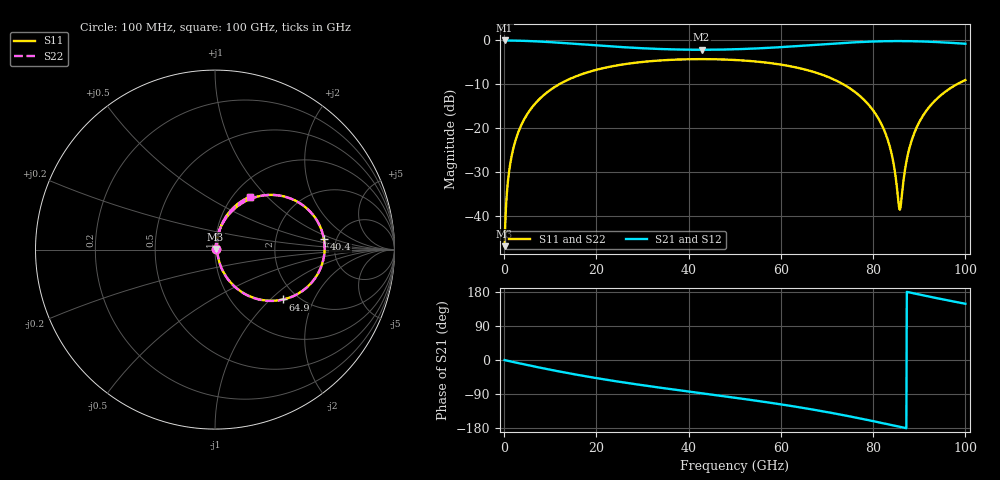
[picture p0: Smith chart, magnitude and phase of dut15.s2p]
! Touchstone file exported from HFSS 2026.1.0
!  File:  C:/ffzhzh/LocalFiles/Ansys_Project_Files/temp_train_RDL_15_1783497746_31944.aedt
!  Generated:  04:03:58 PM Jul  8, 2026
!  Design:  RDL
!  Project:  temp_train_RDL_15_1783497746_31944
! Variables:
!  h_bsmrdl = 2um
!  h_ox = 20um
!  h_rdl = 5um
!  h_sub = 80um
!  h_tmrdl = 3.41um
!  h_tsv = 80um
!  h_via = 3um
!  l_bsmrdl = 300um
!  l_sub = 1077.58um
!  l_tmrdl = 677.58um
!  m_sub = 200um
!  pitch = 58.51um
!  r_tsv = 6um
!  s_tmrdl = 10um
!  w_bsmrdl = 18um
!  w_sub = 500um
!  w_tmrdl = 23.21um
!  x_tsv_center1 = 689.185um
!  x_tsv_center2 = 1007.185um
!  x_tsv_center3 = 1707.975um
!  x_tsv_center4 = 2025.975um
!  x_tsv_center5 = 2726.765um
!  x_tsv_center6 = 3044.765um
# GHz S MA R 50.000000
! Terminal data exported
! Port[1] = TM_RDL1_1_T1
! Port[2] = TM_RDL1_1_T2
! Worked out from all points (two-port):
!   1000 points, 100 MHz to 100 GHz, reference 50 ohm
!   highest |S21| = -0.03 dB at 100 MHz (marker M1); lowest = -2.1 dB at 42.8 GHz (marker M2)
!   |S21| within 3 dB of the highest: start of sweep to end of sweep
!   lowest |S11| = -46.9 dB at 100 MHz (marker M3), VSWR 1.01, Z = 50.3 + j0.319 ohm
!   |S11| at or under -10 dB: start of sweep to 11.95 GHz; 73.52 GHz to 98.16 GHz (24.64 GHz wide, 28.7 % of centre)
!   |S22| runs from -46.9 to -4.3 dB; largest |S21 - S12| = 1.8e-14
!   S11 on the Smith chart (normalised r, x): 100 MHz: 1.01, +0.01; 40.4 GHz: 3.98, +0.74; 64.9 GHz: 1.68, -1.20; 100 GHz: 1.19, +0.80
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0.1  0.004539 44.3  0.9968 -0.3  0.9968 -0.3  0.00454 44.3
! Gamma 0 0 0 0
! Port Impedance 50 0 50 0
0.8  0.02428 78.5  0.9957 -2.2  0.9957 -2.2  0.02428 78.5
1.4  0.04169 80.5  0.9949 -3.7  0.9949 -3.7  0.04169 80.5
2.5  0.07358 79.7  0.9927 -6.7  0.9927 -6.7  0.07358 79.7
4  0.1164 76.8  0.9879 -10.6  0.9879 -10.6  0.1164 76.8
9  0.2482 64.9  0.9606 -23.2  0.9606 -23.2  0.2482 64.9
16.8  0.411 47.5  0.9013 -41.1  0.9013 -41.1  0.411 47.4
33.4  0.5881 16.8  0.7983 -72.3  0.7983 -72.3  0.5881 16.8
40.4  0.6096 5.5  0.7824 -83.9  0.7824 -83.9  0.6097 5.4
42.8  0.6111 1.7  0.7813 -87.7  0.7813 -87.7  0.6111 1.6
50.1  0.5972 -10.0  0.7917 -99.7  0.7917 -99.7  0.5972 -10.1
64.9  0.4701 -36.2  0.8699 -126.6  0.8699 -126.6  0.4701 -36.4
66.7  0.4434 -39.8  0.8831 -130.3  0.8831 -130.3  0.4434 -40.0
77.6  0.2209 -63.0  0.9585 -155.3  0.9585 -155.3  0.2209 -63.2
81.1  0.13 -69.6  0.9736 -164.2  0.9736 -164.2  0.13 -69.8
83.4  0.06746 -70.6  0.979 -170.1  0.979 -170.1  0.06744 -70.9
84.3  0.04303 -67.0  0.9801 -172.4  0.9801 -172.4  0.04299 -67.5
85.8  0.01182 5.9  0.9806 -176.3  0.9806 -176.3  0.01166 5.7
87.7  0.05484 75.9  0.9787 178.7  0.9787 178.7  0.05481 75.8
90.1  0.1199 76.5  0.9725 172.5  0.9725 172.5  0.1199 76.4
94.2  0.2255 69.0  0.9534 162.2  0.9534 162.2  0.2255 68.8
100  0.3538 56.5  0.9143 148.5  0.9143 148.5  0.3538 56.3
